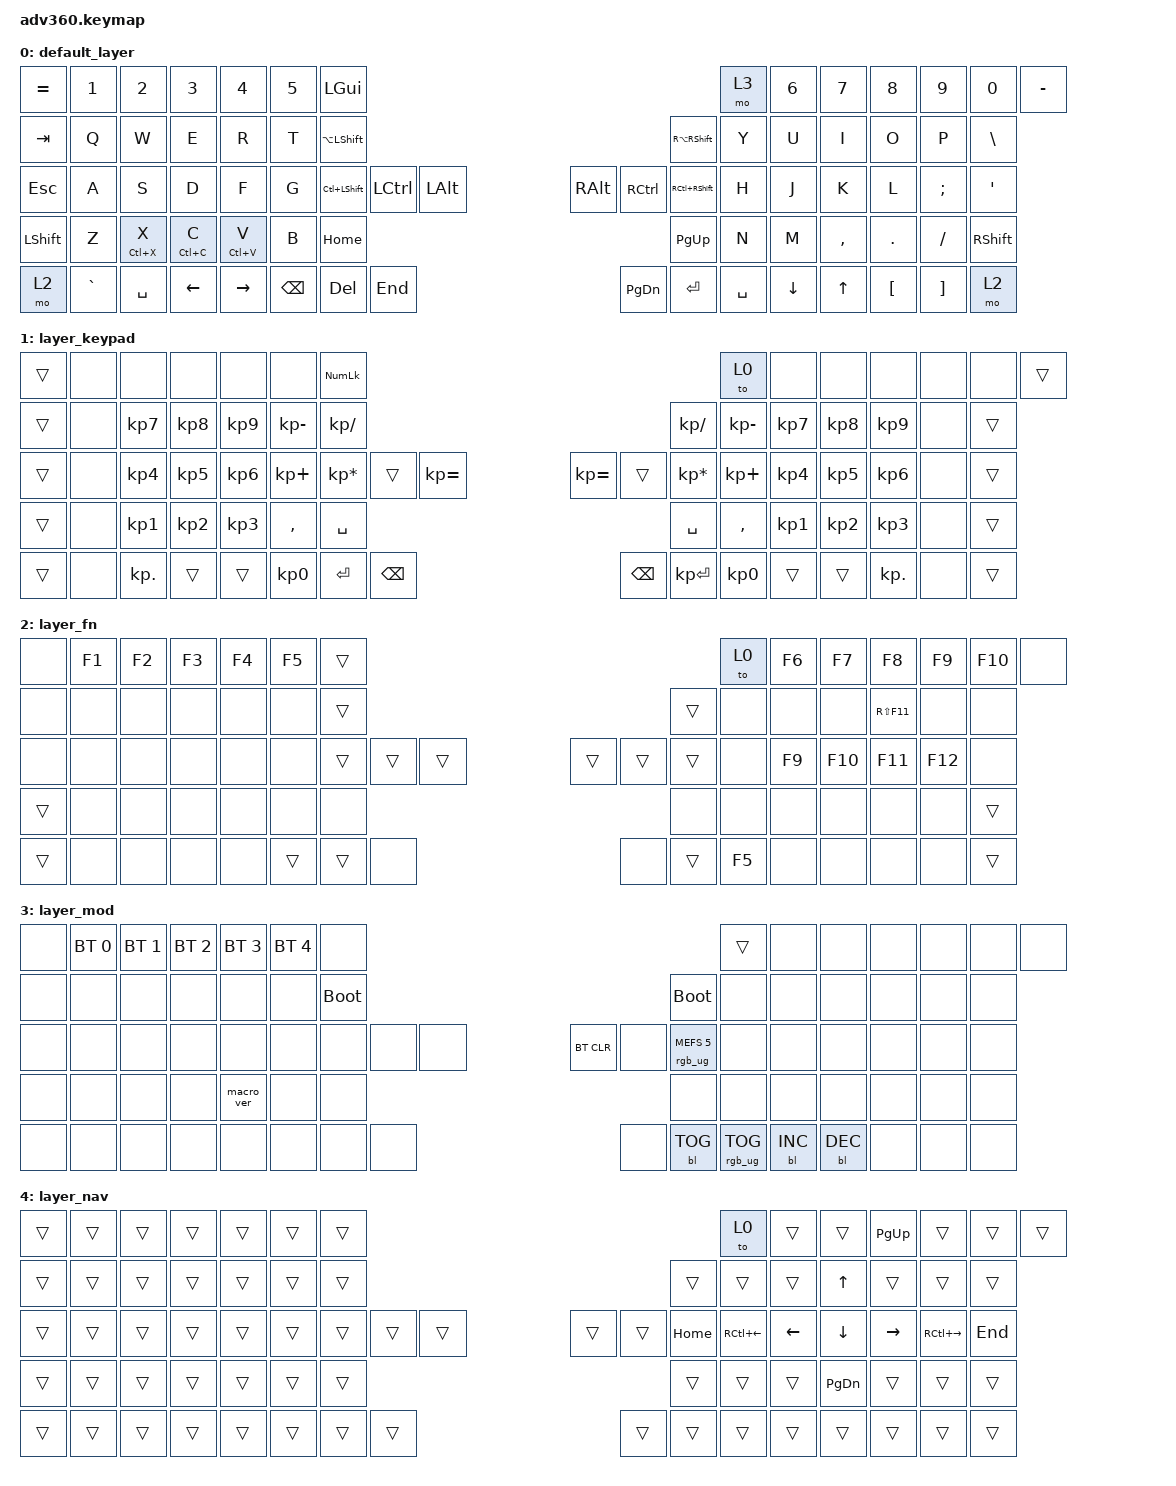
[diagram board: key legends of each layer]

/*
 * Copyright (c) 2020 The ZMK Contributors
 *
 * SPDX-License-Identifier: MIT
 */


/* THIS FILE WAS GENERATED!
 *
 * This file was generated automatically. You may or may not want to
 * edit it directly.
 */

#include <behaviors.dtsi>
#include <dt-bindings/zmk/keys.h>
#include <dt-bindings/zmk/bt.h>
#include <dt-bindings/zmk/rgb.h>
#include <dt-bindings/zmk/backlight.h>


/ {
  behaviors {
    #include "macros.dtsi"
    #include "version.dtsi"

    hm: homerow_mods {
        compatible = "zmk,behavior-hold-tap";
        label = "HOMEROW_MODS";
        #binding-cells = <2>;
        tapping-term-ms = <200>;
        quick_tap_ms = <175>;
        flavor = "tap-preferred";
        bindings = <&kp>, <&kp>;
    };
    rpi: require_prior_idle {
        compatible = "zmk,behavior-hold-tap";
        #binding-cells = <2>;
        flavor = "tap-preferred";
        tapping-term-ms = <400>;
        quick-tap-ms = <400>;
        require-prior-idle-ms = <250>;
        bindings = <&kp>, <&kp>;
    };
  };

  combos {
    compatible = "zmk,combos";
    combo_esc {
        timeout-ms = <50>;
        key-positions = <0 1>;
        bindings = <&kp ESC>;
    };
    combo_keypadlayer {
        timeout-ms = <50>;
        key-positions = <30 32>;
        bindings = <&tog 1>;
    };
    combo_navlayer {
        timeout-ms = <50>;
        key-positions = <41 43>;
        bindings = <&tog 4>;
    };
  };

    keymap {
        compatible = "zmk,keymap";


        default_layer {
            bindings = <
 &kp EQUAL     &kp N1       &kp N2       &kp N3       &kp N4  &kp N5                 &kp LGUI                                                                     &mo 3  &kp N6    &kp N7     &kp N8    &kp N9    &kp N0  &kp MINUS
   &kp TAB      &kp Q        &kp W        &kp E        &kp R   &kp T            &kp LA(LSHFT)                                                             &kp RA(RSHFT)   &kp Y     &kp U      &kp I     &kp O     &kp P   &kp BSLH
   &kp ESC      &kp A        &kp S        &kp D        &kp F   &kp G            &kp LC(LSHFT)  &kp LCTRL  &kp LALT                   &kp RALT  &kp RCTRL  &kp RC(RSHFT)   &kp H     &kp J      &kp K     &kp L  &kp SEMI    &kp SQT
 &kp LSHFT      &kp Z  &rpi LC(X) X  &rpi LC(C) C  &rpi LC(V) V   &kp B                                      &kp HOME                  &kp PG_UP                             &kp N     &kp M  &kp COMMA   &kp DOT  &kp FSLH  &kp RSHFT
     &mo 2  &kp GRAVE      &kp SPACE     &kp LEFT    &kp RIGHT                         &kp BSPC    &kp DEL   &kp END                  &kp PG_DN  &kp ENTER      &kp SPACE          &kp DOWN     &kp UP  &kp LBKT  &kp RBKT      &mo 2
            >;
        };

        layer_keypad {
            bindings = <
 &trans   &none       &none      &none      &none         &none                 &kp KP_NUM                                                                                 &to 0         &none      &none      &none       &none   &none  &trans
 &trans   &none   &kp KP_N7  &kp KP_N8  &kp KP_N9  &kp KP_MINUS              &kp KP_DIVIDE                                                                          &kp KP_SLASH  &kp KP_MINUS  &kp KP_N7  &kp KP_N8   &kp KP_N9   &none  &trans
 &trans   &none   &kp KP_N4  &kp KP_N5  &kp KP_N6   &kp KP_PLUS            &kp KP_MULTIPLY     &trans  &kp KP_EQUAL                  &kp KP_EQUAL        &trans  &kp KP_MULTIPLY   &kp KP_PLUS  &kp KP_N4  &kp KP_N5   &kp KP_N6   &none  &trans
 &trans   &none   &kp KP_N1  &kp KP_N2  &kp KP_N3     &kp COMMA                                           &kp SPACE                     &kp SPACE                                    &kp COMMA  &kp KP_N1  &kp KP_N2   &kp KP_N3   &none  &trans
 &trans   &none  &kp KP_DOT     &trans     &trans                                &kp KP_N0  &kp ENTER      &kp BSPC                      &kp BSPC  &kp KP_ENTER        &kp KP_N0                   &trans     &trans  &kp KP_DOT   &none  &trans
            >;
        };

        layer_fn {
            bindings = <
  &none  &kp F1  &kp F2  &kp F3  &kp F4  &kp F5            &trans                                                   &to 0  &kp F6  &kp F7   &kp F8       &kp F9  &kp F10   &none
  &none   &none   &none   &none   &none   &none            &trans                                                  &trans   &none   &none    &none  &kp RS(F11)    &none   &none
  &none   &none   &none   &none   &none   &none            &trans  &trans  &trans                  &trans  &trans  &trans   &none  &kp F9  &kp F10      &kp F11  &kp F12   &none
 &trans   &none   &none   &none   &none   &none                             &none                   &none                   &none   &none    &none        &none    &none  &trans
 &trans   &none   &none   &none   &none                    &trans  &trans   &none                   &none  &trans  &kp F5           &none    &none        &none    &none  &trans
            >;
        };

        layer_mod {
            bindings = <
  &none  &bt BT_SEL 0  &bt BT_SEL 1  &bt BT_SEL 2  &bt BT_SEL 3  &bt BT_SEL 4                  &none                                                                          &trans   &none       &none       &none   &none   &none   &none
  &none         &none         &none         &none         &none         &none            &bootloader                                                                     &bootloader   &none       &none       &none   &none   &none   &none
  &none         &none         &none         &none         &none         &none                  &none   &none   &none                  &bt BT_CLR       &none  &rgb_ug RGB_MEFS_CMD 5   &none       &none       &none   &none   &none   &none
  &none         &none         &none         &none    &macro_ver         &none                                  &none                       &none                                       &none       &none       &none   &none   &none   &none
  &none         &none         &none         &none         &none                                &none   &none   &none                       &none  &bl BL_TOG         &rgb_ug RGB_TOG          &bl BL_INC  &bl BL_DEC   &none   &none   &none
            >;
        };

        layer_nav {
            bindings = <
 &trans  &trans  &trans  &trans  &trans  &trans            &trans                                                     &to 0        &trans    &trans  &kp PG_UP     &trans         &trans   &trans
 &trans  &trans  &trans  &trans  &trans  &trans            &trans                                                    &trans        &trans    &trans     &kp UP     &trans         &trans   &trans
 &trans  &trans  &trans  &trans  &trans  &trans            &trans  &trans  &trans                  &trans  &trans  &kp HOME  &kp RC(LEFT)  &kp LEFT   &kp DOWN  &kp RIGHT  &kp RC(RIGHT)  &kp END
 &trans  &trans  &trans  &trans  &trans  &trans                            &trans                  &trans                          &trans    &trans  &kp PG_DN     &trans         &trans   &trans
 &trans  &trans  &trans  &trans  &trans                    &trans  &trans  &trans                  &trans  &trans    &trans                  &trans     &trans     &trans         &trans   &trans
            >;
        };

    };
};
